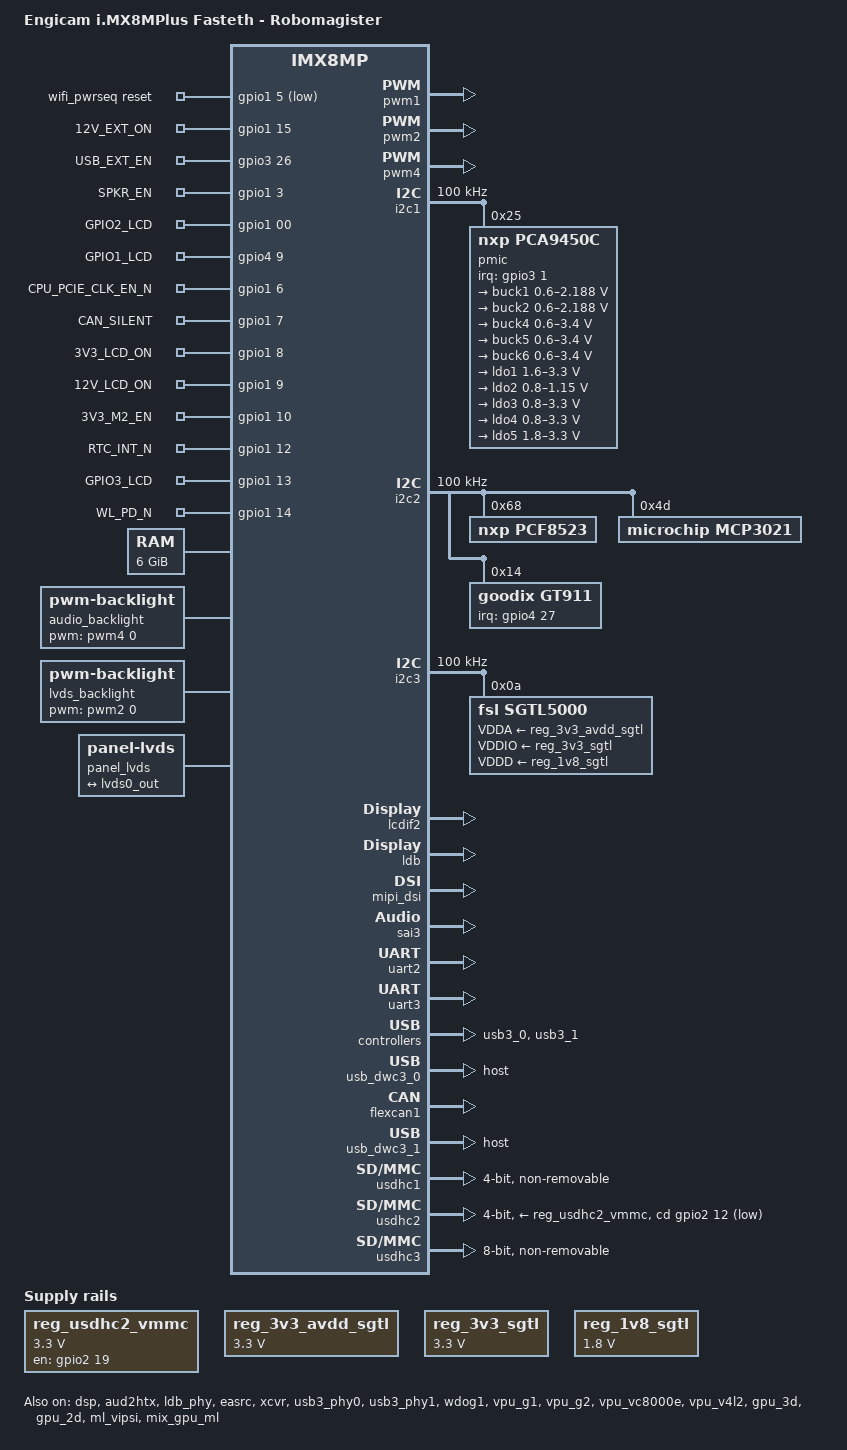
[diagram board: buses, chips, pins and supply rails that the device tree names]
// SPDX-License-Identifier: (GPL-2.0+ OR MIT)
/*
 * Copyright 2024 Engicam
 */

/dts-v1/;

#include <dt-bindings/usb/pd.h>
#include "../freescale/imx8mp.dtsi"

/ {
	model = "Engicam i.MX8MPlus Fasteth - Robomagister";
	compatible = "engi,imx8-icore", "fsl,imx8mp";

	chosen {
		stdout-path = &uart2;
	};

	aliases {
		rtc1 = &snvs_rtc;
	};

	wifi_pwrseq: wifi_pwrseq {
		compatible = "mmc-pwrseq-simple";
		reset-gpios = <&gpio1 5 GPIO_ACTIVE_LOW>;
	};

 	gpio_export {
 		compatible = "gpio-export";
 		#size-cells = <0>;

		12V_EXT_ON { //MX8MP_IOMUXC_GPIO1_IO15__GPIO1_IO15
			gpio-export,name = "12V_EXT_ON";
			gpio-export,output = <0>; //PIN SOM 26 GPIO1_IO15
			gpios = <&gpio1 15 0>;
		};

		USB_EXT_EN { //MX8MP_IOMUXC_HDMI_DDC_SCL__GPIO3_IO26
			gpio-export,name = "USB_EXT_EN";
			gpio-export,output = <0>; //PIN SOM 19
			gpios = <&gpio3 26 0>;
		};

		SPKR_EN { //MX8MP_IOMUXC_GPIO1_IO03__GPIO1_IO03
			gpio-export,name = "SPKR_EN";
			gpio-export,output = <1>; //PIN SOM 8 GPIO1_IO03
			gpios = <&gpio1 3 0>;
		};

		GPIO2_LCD { //MX8MP_IOMUXC_GPIO1_IO00__GPIO1_IO00
			gpio-export,name = "GPIO2_LCD";
			gpio-export,output = <1>; //PIN SOM 6 GPIO1_IO00
			gpios = <&gpio1 00 0>;
		};

		GPIO1_LCD { //MX8MP_IOMUXC_SAI1_RXD7__GPIO4_IO09
			gpio-export,name = "GPIO1_LCD";
			gpio-export,output = <1>; //PIN SOM 7 SAI1_RXD7
			gpios = <&gpio4 9 0>;
		};

		CPU_PCIE_CLK_EN_N { //MX8MP_IOMUXC_GPIO1_IO06__GPIO1_IO06
			gpio-export,name = "CPU_PCIE_CLK_EN_N";
			gpio-export,output = <1>; //PIN SOM 11 GPIO1_IO06
			gpios = <&gpio1 6 0>;
		};

		CAN_SILENT { //MX8MP_IOMUXC_GPIO1_IO07__GPIO1_IO07
			gpio-export,name = "CAN_SILENT";
			gpio-export,output = <0>; //PIN SOM 12 GPIO1_IO07
			gpios = <&gpio1 7 0>;
		};

		3V3_LCD_ON { //MX8MP_IOMUXC_GPIO1_IO08__GPIO1_IO08
			gpio-export,name = "3V3_LCD_ON";
			gpio-export,output = <1>; //PIN SOM 13 GPIO1_IO08
			gpios = <&gpio1 8 0>;
		};

		12V_LCD_ON { //MX8MP_IOMUXC_GPIO1_IO09__GPIO1_IO09
			gpio-export,name = "12V_LCD_ON";
			gpio-export,output = <1>; //PIN SOM 14 GPIO1_IO09
			gpios = <&gpio1 9 0>;
		};

		3V3_M2_EN { //MX8MP_IOMUXC_GPIO1_IO10__GPIO1_IO10
			gpio-export,name = "3V3_M2_EN";
			gpio-export,output = <1>; //PIN SOM 15 GPIO1_IO10
			gpios = <&gpio1 10 0>;
		};

		RTC_INT_N { //MX8MP_IOMUXC_GPIO1_IO12__GPIO1_IO12
			gpio-export,name = "RTC_INT_N";
			gpio-export,output = <1>; //PIN SOM 16 GPIO1_IO12
			gpios = <&gpio1 12 0>;
		};

		GPIO3_LCD { //MX8MP_IOMUXC_GPIO1_IO13__GPIO1_IO13
			gpio-export,name = "GPIO3_LCD";
			gpio-export,output = <1>; //PIN SOM 17 GPIO1_IO13
			gpios = <&gpio1 13 0>;
		};

		WL_PD_N { //MX8MP_IOMUXC_GPIO1_IO14__GPIO1_IO14
			gpio-export,name = "WL_PD_N";
			gpio-export,output = <1>; //PIN SOM 25 GPIO1_IO14
			gpios = <&gpio1 14 0>;
		};
 	};

	memory@40000000 {
		device_type = "memory";
		reg = <0x0 0x40000000 0 0xc0000000>,
		      <0x1 0x00000000 0 0xc0000000>;
	};

	reg_usdhc2_vmmc: regulator-usdhc2 {
		compatible = "regulator-fixed";
		regulator-name = "VSD_3V3";
		regulator-min-microvolt = <3300000>;
		regulator-max-microvolt = <3300000>;
		gpio = <&gpio2 19 GPIO_ACTIVE_HIGH>;
		enable-active-high;
		startup-delay-us = <100>;
		off-on-delay-us = <12000>;
	};

	reg_3v3_avdd_sgtl: reg_3v3_avdd_regulator {
		compatible = "regulator-fixed";
		regulator-name = "3v3_avdd_sgtl";
		regulator-min-microvolt = <3300000>;
		regulator-max-microvolt = <3300000>;
		always-on;
	};

	reg_3v3_sgtl: reg_3v3_sgtl_regulator {
		compatible = "regulator-fixed";
		regulator-name = "3v3_sgtl";
		regulator-min-microvolt = <3300000>;
		regulator-max-microvolt = <3300000>;
		always-on;
	};

	reg_1v8_sgtl: reg_1v8_sgtl_regulator {
		compatible = "regulator-fixed";
		regulator-name = "1v8_sgtl";
		regulator-min-microvolt = <1800000>;
		regulator-max-microvolt = <1800000>;
		always-on;
	};

	sound {
		compatible = "simple-audio-card";

		simple-audio-card,format = "i2s";
		simple-audio-card,widgets =
				"Microphone", "Microphone Jack",
				"Headphone", "Headphone Jack",
				"Speaker", "Speaker Ext",
				"Line", "Line In Jack";
		simple-audio-card,routing =
				"MIC_IN", "Microphone Jack",
				"Microphone Jack", "Mic Bias",
				"LINE_IN", "Line In Jack",
				"Headphone Jack", "HP_OUT",
				"Speaker Ext", "LINE_OUT";

		#sound-dai-cells = <2>;

		simple-audio-card,cpu {
				sound-dai = <&sai3>;
				frame-master;
				bitclock-master;
		};

		simple-audio-card,codec {
				sound-dai = <&sgtl5000>;
				frame-master;
				bitclock-master;
		};
	};

	sound-hdmi {
		compatible = "fsl,imx-audio-hdmi";
		model = "audio-hdmi";
		audio-cpu = <&aud2htx>;
		hdmi-out;
		constraint-rate = <44100>,
				<88200>,
				<176400>,
				<32000>,
				<48000>,
				<96000>,
				<192000>;
		status = "okay";
	};

	audio_backlight: audio_backlight {
		compatible = "pwm-backlight";
		pwms = <&pwm4 0 100>;
		status = "okay";

		brightness-levels = < 0  1  2  3  4  5  6  7  8  9
				     10 11 12 13 14 15 16 17 18 19
				     20 21 22 23 24 25 26 27 28 29
				     30 31 32 33 34 35 36 37 38 39
				     40 41 42 43 44 45 46 47 48 49
				     50 51 52 53 54 55 56 57 58 59
				     60 61 62 63 64 65 66 67 68 69
				     70 71 72 73 74 75 76 77 78 79
				     80 81 82 83 84 85 86 87 88 89
				     90 91 92 93 94 95 96 97 98 99
				    100>;
		default-brightness-level = <50>;
	};

	lvds_backlight: lvds_backlight {
		compatible = "pwm-backlight";
		pwms = <&pwm2 0 100000>;
		status = "okay";

		brightness-levels = < 0  1  2  3  4  5  6  7  8  9
				     10 11 12 13 14 15 16 17 18 19
				     20 21 22 23 24 25 26 27 28 29
				     30 31 32 33 34 35 36 37 38 39
				     40 41 42 43 44 45 46 47 48 49
				     50 51 52 53 54 55 56 57 58 59
				     60 61 62 63 64 65 66 67 68 69
				     70 71 72 73 74 75 76 77 78 79
				     80 81 82 83 84 85 86 87 88 89
				     90 91 92 93 94 95 96 97 98 99
				    100>;
		default-brightness-level = <100>;
	};

	panel_lvds: panel-lvds {
		compatible = "panel-lvds";

		width-mm = <154>;
		height-mm = <86>;
		data-mapping = "vesa-24";
		status = "okay";

		panel-timing {
		    /* 1024x600 @58Hz */
		    clock-frequency = <58000000>;
		    hactive = <1024>;
		    vactive = <600>;
		    hback-porch = <160>;
		    hfront-porch = <20>;
		    hsync-len = <136>;
		    vback-porch = <29>;
		    vfront-porch = <3>;
		    vsync-len = <6>;
		};

		port {
			panel_in_lvds: endpoint {
				remote-endpoint = <&lvds0_out>;
			};
		};
	};
};

&A53_0 {
	cpu-supply = <&buck2>;
};

&A53_1 {
	cpu-supply = <&buck2>;
};

&A53_2 {
	cpu-supply = <&buck2>;
};

&A53_3 {
	cpu-supply = <&buck2>;
};

&dsp {
	status = "okay";
};

&pwm1 {
	pinctrl-names = "default";
	pinctrl-0 = <&pinctrl_pwm1>;
	status = "okay";
};

&pwm2 {
	pinctrl-names = "default";
	pinctrl-0 = <&pinctrl_pwm2>;
	status = "okay";
};

&pwm4 {
	pinctrl-names = "default";
	pinctrl-0 = <&pinctrl_pwm4>;
	status = "okay";
};

&aud2htx {
	status = "okay";
};

&i2c1 {
	clock-frequency = <100000>;
	pinctrl-names = "default";
	pinctrl-0 = <&pinctrl_i2c1>;
	status = "okay";

	pmic@25 {
		compatible = "nxp,pca9450c";
		reg = <0x25>;
		pinctrl-names = "default";
		pinctrl-0 = <&pinctrl_pmic>;
		interrupt-parent = <&gpio3>;
		interrupts = <1 IRQ_TYPE_LEVEL_LOW>;

		regulators {
			buck1: BUCK1 {
				regulator-name = "BUCK1";
				regulator-min-microvolt = <600000>;
				regulator-max-microvolt = <2187500>;
				regulator-boot-on;
				regulator-always-on;
				regulator-ramp-delay = <3125>;
			};

			buck2: BUCK2 {
				regulator-name = "BUCK2";
				regulator-min-microvolt = <600000>;
				regulator-max-microvolt = <2187500>;
				regulator-boot-on;
				regulator-always-on;
				regulator-ramp-delay = <3125>;
				nxp,dvs-run-voltage = <950000>;
				nxp,dvs-standby-voltage = <850000>;
			};

			buck4: BUCK4{
				regulator-name = "BUCK4";
				regulator-min-microvolt = <600000>;
				regulator-max-microvolt = <3400000>;
				regulator-boot-on;
				regulator-always-on;
			};

			buck5: BUCK5{
				regulator-name = "BUCK5";
				regulator-min-microvolt = <600000>;
				regulator-max-microvolt = <3400000>;
				regulator-boot-on;
				regulator-always-on;
			};

			buck6: BUCK6 {
				regulator-name = "BUCK6";
				regulator-min-microvolt = <600000>;
				regulator-max-microvolt = <3400000>;
				regulator-boot-on;
				regulator-always-on;
			};

			ldo1: LDO1 {
				regulator-name = "LDO1";
				regulator-min-microvolt = <1600000>;
				regulator-max-microvolt = <3300000>;
				regulator-boot-on;
				regulator-always-on;
			};

			ldo2: LDO2 {
				regulator-name = "LDO2";
				regulator-min-microvolt = <800000>;
				regulator-max-microvolt = <1150000>;
				regulator-boot-on;
				regulator-always-on;
			};

			ldo3: LDO3 {
				regulator-name = "LDO3";
				regulator-min-microvolt = <800000>;
				regulator-max-microvolt = <3300000>;
				regulator-boot-on;
				regulator-always-on;
			};

			ldo4: LDO4 {
				regulator-name = "LDO4";
				regulator-min-microvolt = <800000>;
				regulator-max-microvolt = <3300000>;
				regulator-boot-on;
				regulator-always-on;
			};

			ldo5: LDO5 {
				regulator-name = "LDO5";
				regulator-min-microvolt = <1800000>;
				regulator-max-microvolt = <3300000>;
				regulator-boot-on;
				regulator-always-on;
			};
		};
	};
};

&i2c2 {
	clock-frequency = <100000>;
	pinctrl-names = "default";
	pinctrl-0 = <&pinctrl_i2c2>;
	status = "okay";

	pcf8523: rtc@68 {
		compatible = "nxp,pcf8523";
		reg = <0x68>;
	};

	mcp3021@4d {
		compatible = "microchip,mcp3021";
		reg = <0x4d>;
		reference-voltage-microvolt = <4500000>; /* 4.5 V */
	};
	
	gt911@14 {
		compatible = "goodix,gt911";
		reg = <0x14>;
		pinctrl-names = "default";
		pinctrl-0 = <&gt911_pins>;
		interrupt-parent = <&gpio4>;
		interrupts = <27 IRQ_TYPE_EDGE_FALLING>;
		touchscreen-inverted-x = <1>;
		touchscreen-inverted-y = <1>;
	};
};

&i2c3 {
	clock-frequency = <100000>;
	pinctrl-names = "default";
	pinctrl-0 = <&pinctrl_i2c3>;
	status = "okay";

	sgtl5000: codec@a {
			compatible = "fsl,sgtl5000";
			status = "okay";
			#sound-dai-cells = <0>;
			reg = <0x0a>;
			clocks = <&audio_blk_ctrl IMX8MP_CLK_AUDIO_BLK_CTRL_SAI3_MCLK1>;
			clock-names = "mclk";
			assigned-clock-rates = <12000000>, <12000000>;
			VDDA-supply = <&reg_3v3_avdd_sgtl>;
			VDDIO-supply = <&reg_3v3_sgtl>;
			VDDD-supply = <&reg_1v8_sgtl>;
	};
};

&lcdif2 {
	status = "okay";
};

&ldb {
	status = "okay";

	lvds-channel@0 {
		fsl,data-mapping = "spwg";
		fsl,data-width = <24>;
		status = "okay";

		port@1 {
			reg = <1>;

			lvds0_out: endpoint {
				remote-endpoint = <&panel_in_lvds>;
			};
		};
	};
};

&ldb_phy {
	status = "okay";
};

&mipi_dsi {
	status = "okay";
};


&easrc {
	fsl,asrc-rate  = <48000>;
	status = "okay";
};

&sai3 {
	#sound-dai-cells = <0>;
	pinctrl-names = "default";
	pinctrl-0 = <&pinctrl_sai3>;
	assigned-clocks = <&clk IMX8MP_CLK_SAI3>;
	assigned-clock-parents = <&clk IMX8MP_AUDIO_PLL1_OUT>;
	assigned-clock-rates = <12288000>;
	clocks = <&audio_blk_ctrl IMX8MP_CLK_AUDIO_BLK_CTRL_SAI3_IPG>, <&clk IMX8MP_CLK_DUMMY>,
		 <&audio_blk_ctrl IMX8MP_CLK_AUDIO_BLK_CTRL_SAI3_MCLK1>, <&clk IMX8MP_CLK_DUMMY>,
		 <&clk IMX8MP_CLK_DUMMY>;
	clock-names = "bus", "mclk0", "mclk1", "mclk2", "mclk3";
	fsl,sai-mclk-direction-output;
	status = "okay";
};

&xcvr {
	#sound-dai-cells = <0>;
	status = "okay";
};

&sdma2 {
	status = "okay";
};

/* CONSOLE LINUX */
&uart2 {
	pinctrl-names = "default";
	pinctrl-0 = <&pinctrl_uart2>;
	status = "okay";
};

/* BT */
&uart3 {
    pinctrl-names = "default";
    pinctrl-0 = <&pinctrl_uart3>;
    assigned-clocks = <&clk IMX8MP_CLK_UART3>;
    assigned-clock-parents = <&clk IMX8MP_SYS_PLL1_80M>;
    fsl,uart-has-rtscts;
    status = "okay";
};


&usb3_phy0 {
	status = "okay";
};

&usb3_0 {
	status = "okay";
};

&usb_dwc3_0 {
	dr_mode = "host";
	status = "okay";
};

&usb3_phy1 {
	status = "okay";
};

&usb3_1 {
	status = "okay";
};

&flexcan1 {
	pinctrl-names = "default";
	pinctrl-0 = <&pinctrl_flexcan1>;
	status = "okay";
};

&usb_dwc3_1 {
	dr_mode = "host";
	status = "okay";
};

/* WIFI */
&usdhc1 {
	#address-cells = <1>;
	#size-cells = <0>;
	pinctrl-names = "default";
	pinctrl-0 = <&pinctrl_usdhc1>, <&pinctrl_panasonic>;
	bus-width = <4>;
	max-frequency = <15000000>;
	no-1-8-v;
	pm-ignore-notify;
	keep-power-in-suspend;
	mmc-pwrseq = <&wifi_pwrseq>;
	non-removable;
	status = "okay";
};

/* SDCARD */
&usdhc2 {
	pinctrl-names = "default";
	pinctrl-0 = <&pinctrl_usdhc2>, <&pinctrl_usdhc2_gpio>;
	cd-gpios = <&gpio2 12 GPIO_ACTIVE_LOW>;
	vmmc-supply = <&reg_usdhc2_vmmc>;
 	no-1-8-v;
	max-frequency = <35000000>;
	bus-width = <4>;
	status = "okay";
};

/* EMMC */
&usdhc3 {
	pinctrl-names = "default", "state_100mhz", "state_200mhz";
	pinctrl-0 = <&pinctrl_usdhc3>;
	pinctrl-1 = <&pinctrl_usdhc3_100mhz>;
	pinctrl-2 = <&pinctrl_usdhc3_200mhz>;
	bus-width = <8>;
	non-removable;
	status = "okay";
};

&wdog1 {
	pinctrl-names = "default";
	pinctrl-0 = <&pinctrl_wdog>;
	fsl,ext-reset-output;
	status = "okay";
};

&iomuxc {
	pinctrl-names = "default";
	pinctrl-0 = <&pinctrl_hog>;

	pinctrl_hog: hoggrp {
		fsl,pins = <
			MX8MP_IOMUXC_GPIO1_IO03__GPIO1_IO03		0x19
			MX8MP_IOMUXC_GPIO1_IO00__GPIO1_IO00		0x19
			MX8MP_IOMUXC_SAI1_RXD7__GPIO4_IO09		0x19
			MX8MP_IOMUXC_GPIO1_IO06__GPIO1_IO06		0x19
			MX8MP_IOMUXC_GPIO1_IO07__GPIO1_IO07		0x19
			MX8MP_IOMUXC_GPIO1_IO08__GPIO1_IO08		0x19
			MX8MP_IOMUXC_GPIO1_IO09__GPIO1_IO09		0x19
			MX8MP_IOMUXC_GPIO1_IO10__GPIO1_IO10		0x19
			MX8MP_IOMUXC_GPIO1_IO12__GPIO1_IO12		0x19
			MX8MP_IOMUXC_GPIO1_IO14__GPIO1_IO14		0x20
			MX8MP_IOMUXC_GPIO1_IO15__GPIO1_IO15		0x19
			MX8MP_IOMUXC_HDMI_DDC_SCL__GPIO3_IO26	0x19
		>;
	};

	pinctrl_pwm1: pwm1grp {
		fsl,pins = <
			MX8MP_IOMUXC_GPIO1_IO01__PWM1_OUT	0x116
		>;
	};

	pinctrl_pwm2: pwm2grp {
		fsl,pins = <
			MX8MP_IOMUXC_GPIO1_IO11__PWM2_OUT	0x116
		>;
	};

	pinctrl_pwm4: pwm4grp {
		fsl,pins = <
			MX8MP_IOMUXC_SAI3_MCLK__PWM4_OUT	0x116
		>;
	};

	pinctrl_flexcan1: flexcan1grp {
		fsl,pins = <
			MX8MP_IOMUXC_SAI5_RXD2__CAN1_RX          0x154
			MX8MP_IOMUXC_SAI5_RXD1__CAN1_TX          0x154
		>;
	};

	pinctrl_i2c1: i2c1grp {
		fsl,pins = <
			MX8MP_IOMUXC_I2C1_SCL__I2C1_SCL		0x400001c2
			MX8MP_IOMUXC_I2C1_SDA__I2C1_SDA		0x400001c2
		>;
	};

	pinctrl_i2c2: i2c2grp {
		fsl,pins = <
			MX8MP_IOMUXC_I2C2_SCL__I2C2_SCL		0x400001c2
			MX8MP_IOMUXC_I2C2_SDA__I2C2_SDA		0x400001c2
		>;
	};

	pinctrl_i2c3: i2c3grp {
		fsl,pins = <
			MX8MP_IOMUXC_I2C3_SCL__I2C3_SCL		0x400001c2
			MX8MP_IOMUXC_I2C3_SDA__I2C3_SDA		0x400001c2
		>;
	};
	
	gt911_pins: gt911-pins-grp {
		fsl,pins = <
			MX8MP_IOMUXC_SAI2_MCLK__GPIO4_IO27      0x41    /* INT */
			MX8MP_IOMUXC_GPIO1_IO13__GPIO1_IO13     0x41
		>;
	};

	pinctrl_pmic: pmicgrp {
		fsl,pins = <
			MX8MP_IOMUXC_NAND_CE0_B__GPIO3_IO01	0x000001c0
		>;
	};

	pinctrl_sai3: sai3grp {
		fsl,pins = <
			MX8MP_IOMUXC_SAI3_TXFS__AUDIOMIX_SAI3_TX_SYNC	0xd6
			MX8MP_IOMUXC_SAI3_TXC__AUDIOMIX_SAI3_TX_BCLK	0xd6
			MX8MP_IOMUXC_SAI3_RXD__AUDIOMIX_SAI3_RX_DATA00	0xd6
			MX8MP_IOMUXC_SAI3_TXD__AUDIOMIX_SAI3_TX_DATA00	0xd6
		>;
	};

	pinctrl_uart2: uart2grp {
		fsl,pins = <
			MX8MP_IOMUXC_UART2_RXD__UART2_DCE_RX	0x49
			MX8MP_IOMUXC_UART2_TXD__UART2_DCE_TX	0x49
		>;
	};

    pinctrl_uart3: uart3grp {
        fsl,pins = <
			MX8MP_IOMUXC_UART3_TXD__UART3_DCE_TX	0x140
			MX8MP_IOMUXC_UART3_RXD__UART3_DCE_RX	0x140
			MX8MP_IOMUXC_SD1_RESET_B__UART3_DCE_RTS	0x140
			MX8MP_IOMUXC_SD1_STROBE__UART3_DCE_CTS	0x140
        >;
    };

	pinctrl_usdhc1: usdhc1grp {
		fsl,pins = <
			MX8MP_IOMUXC_SD1_CLK__USDHC1_CLK	0x190
			MX8MP_IOMUXC_SD1_CMD__USDHC1_CMD	0x1d0
			MX8MP_IOMUXC_SD1_DATA0__USDHC1_DATA0	0x1d0
			MX8MP_IOMUXC_SD1_DATA1__USDHC1_DATA1	0x1d0
			MX8MP_IOMUXC_SD1_DATA2__USDHC1_DATA2	0x1d0
			MX8MP_IOMUXC_SD1_DATA3__USDHC1_DATA3	0x1d0
		>;
	};

	pinctrl_panasonic: panasonicgrp {
		fsl,pins = <
			MX8MP_IOMUXC_GPIO1_IO05__GPIO1_IO05	0x41
		>;
	};

	pinctrl_usdhc2: usdhc2grp {
		fsl,pins = <
			MX8MP_IOMUXC_SD2_CLK__USDHC2_CLK	0x190
			MX8MP_IOMUXC_SD2_CMD__USDHC2_CMD	0x1d0
			MX8MP_IOMUXC_SD2_DATA0__USDHC2_DATA0	0x1d0
			MX8MP_IOMUXC_SD2_DATA1__USDHC2_DATA1	0x1d0
			MX8MP_IOMUXC_SD2_DATA2__USDHC2_DATA2	0x1d0
			MX8MP_IOMUXC_SD2_DATA3__USDHC2_DATA3	0x1d0
			MX8MP_IOMUXC_GPIO1_IO04__USDHC2_VSELECT	0xc1
		>;
	};

	pinctrl_usdhc2_gpio: usdhc2gpiogrp {
		fsl,pins = <
			MX8MP_IOMUXC_SD2_CD_B__GPIO2_IO12 	0x1c4
		>;
	};

	pinctrl_usdhc3: usdhc3grp {
		fsl,pins = <
			MX8MP_IOMUXC_NAND_WE_B__USDHC3_CLK	0x190
			MX8MP_IOMUXC_NAND_WP_B__USDHC3_CMD	0x1d0
			MX8MP_IOMUXC_NAND_DATA04__USDHC3_DATA0	0x1d0
			MX8MP_IOMUXC_NAND_DATA05__USDHC3_DATA1	0x1d0
			MX8MP_IOMUXC_NAND_DATA06__USDHC3_DATA2	0x1d0
			MX8MP_IOMUXC_NAND_DATA07__USDHC3_DATA3	0x1d0
			MX8MP_IOMUXC_NAND_RE_B__USDHC3_DATA4	0x1d0
			MX8MP_IOMUXC_NAND_CE2_B__USDHC3_DATA5	0x1d0
			MX8MP_IOMUXC_NAND_CE3_B__USDHC3_DATA6	0x1d0
			MX8MP_IOMUXC_NAND_CLE__USDHC3_DATA7	0x1d0
			MX8MP_IOMUXC_NAND_CE1_B__USDHC3_STROBE	0x190
		>;
	};

	pinctrl_usdhc3_100mhz: usdhc3-100mhzgrp {
		fsl,pins = <
			MX8MP_IOMUXC_NAND_WE_B__USDHC3_CLK	0x194
			MX8MP_IOMUXC_NAND_WP_B__USDHC3_CMD	0x1d4
			MX8MP_IOMUXC_NAND_DATA04__USDHC3_DATA0	0x1d4
			MX8MP_IOMUXC_NAND_DATA05__USDHC3_DATA1	0x1d4
			MX8MP_IOMUXC_NAND_DATA06__USDHC3_DATA2	0x1d4
			MX8MP_IOMUXC_NAND_DATA07__USDHC3_DATA3	0x1d4
			MX8MP_IOMUXC_NAND_RE_B__USDHC3_DATA4	0x1d4
			MX8MP_IOMUXC_NAND_CE2_B__USDHC3_DATA5	0x1d4
			MX8MP_IOMUXC_NAND_CE3_B__USDHC3_DATA6	0x1d4
			MX8MP_IOMUXC_NAND_CLE__USDHC3_DATA7	0x1d4
			MX8MP_IOMUXC_NAND_CE1_B__USDHC3_STROBE	0x194
		>;
	};

	pinctrl_usdhc3_200mhz: usdhc3-200mhzgrp {
		fsl,pins = <
			MX8MP_IOMUXC_NAND_WE_B__USDHC3_CLK	0x196
			MX8MP_IOMUXC_NAND_WP_B__USDHC3_CMD	0x1d6
			MX8MP_IOMUXC_NAND_DATA04__USDHC3_DATA0	0x1d6
			MX8MP_IOMUXC_NAND_DATA05__USDHC3_DATA1	0x1d6
			MX8MP_IOMUXC_NAND_DATA06__USDHC3_DATA2	0x1d6
			MX8MP_IOMUXC_NAND_DATA07__USDHC3_DATA3	0x1d6
			MX8MP_IOMUXC_NAND_RE_B__USDHC3_DATA4	0x1d6
			MX8MP_IOMUXC_NAND_CE2_B__USDHC3_DATA5	0x1d6
			MX8MP_IOMUXC_NAND_CE3_B__USDHC3_DATA6	0x1d6
			MX8MP_IOMUXC_NAND_CLE__USDHC3_DATA7	0x1d6
			MX8MP_IOMUXC_NAND_CE1_B__USDHC3_STROBE	0x196
		>;
	};

	pinctrl_wdog: wdoggrp {
		fsl,pins = <
			MX8MP_IOMUXC_GPIO1_IO02__WDOG1_WDOG_B	0xc6
		>;
	};
};

&vpu_g1 {
	status = "okay";
};

&vpu_g2 {
	status = "okay";
};

&vpu_vc8000e {
	status = "okay";
};

&vpu_v4l2 {
	status = "okay";
};

&gpu_3d {
	status = "okay";
};

&gpu_2d {
	status = "okay";
};

&ml_vipsi {
	status = "okay";
};

&mix_gpu_ml {
	status = "okay";
};

